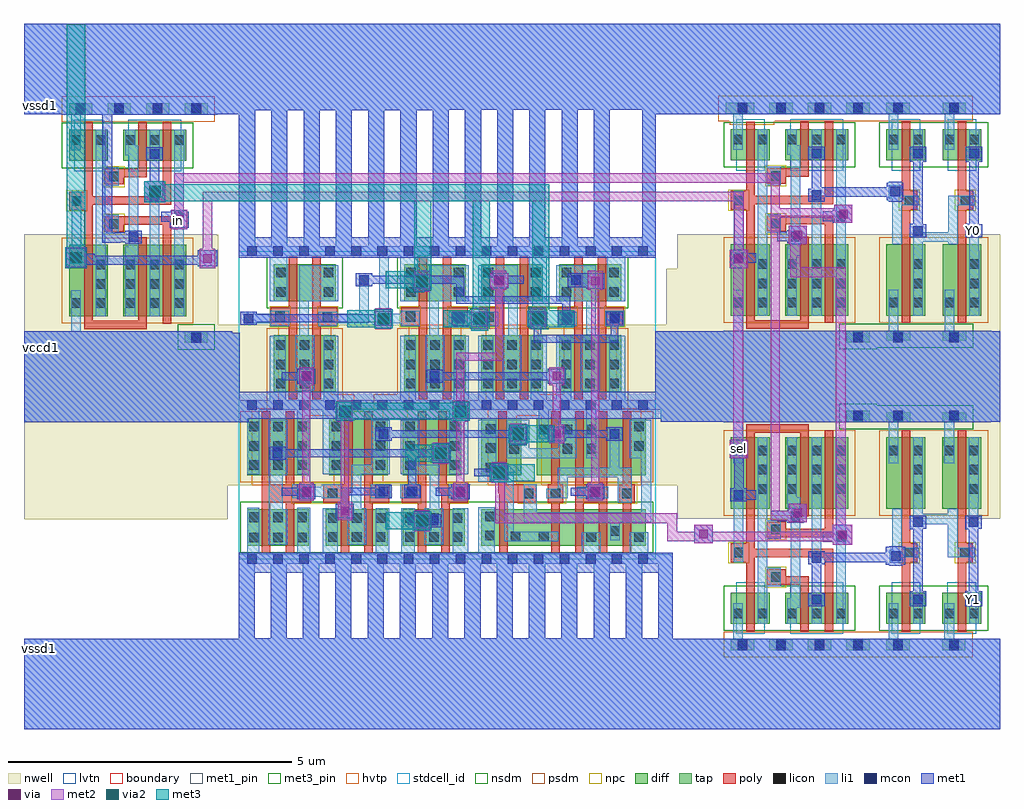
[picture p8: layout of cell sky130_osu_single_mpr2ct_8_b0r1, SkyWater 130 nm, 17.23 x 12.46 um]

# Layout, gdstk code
import gdstk
lib = gdstk.Library(unit=1e-6, precision=1e-09)
def R(c, l, rs):  # rectangles x0, y0, x1, y1
    for r in rs: c.add(gdstk.rectangle(r[:2], r[2:], *l))
def A(c, l, x, y, w, h, nx, ny, dx, dy):  # array of equal rectangles
    R(c, l, [(x+i*dx, y+j*dy, x+i*dx+w, y+j*dy+h) for i in range(nx) for j in range(ny)])
nwell = (64, 20)
diff = (65, 20)
tap = (65, 44)
poly = (66, 20)
licon = (66, 44)
li1 = (67, 20)
mcon = (67, 44)
met1_pin = (68, 16)
met1 = (68, 20)
via = (68, 44)
met2 = (69, 20)
via2 = (69, 44)
met3_pin = (70, 16)
met3 = (70, 20)
hvtp = (78, 44)
stdcell_id = (81, 4)
nsdm = (93, 44)
psdm = (94, 20)
npc = (95, 20)
lvtn = (125, 44)
boundary = (235, 4)

sky130_osu_sc_12t_hs__mu = lib.new_cell('sky130_osu_sc_12T_hs__mux2_1')
R(sky130_osu_sc_12t_hs__mu, nwell, [(-0.05,2.42,2.76,4.51)])
R(sky130_osu_sc_12t_hs__mu, diff, [(0.13,0.57,0.815,1.12), (1.085,0.57,2.2,1.12), (0.13,2.6,0.815,3.86), (1.085,2.6,2.2,3.86)])
A(sky130_osu_sc_12t_hs__mu, tap, 0.13, 0.1, 0.41, 0.2, 4, 1, 0.68, 0)
R(sky130_osu_sc_12t_hs__mu, tap, [(2.17,4.13,2.58,4.33)])
R(sky130_osu_sc_12t_hs__mu, poly, [(0.4,0.44,0.55,1.66), (1.355,0.44,1.505,1.26), (1.785,0.44,1.935,1.74), (0.76,1.26,1.505,1.41), (0.76,1.41,1.095,1.53), (0.13,1.66,0.55,1.74), (0.13,1.74,1.935,1.89), (0.13,1.89,0.55,1.99), (0.4,1.99,0.55,3.94), (0.76,2.1,1.935,2.25), (0.76,2.25,1.095,2.37), (1.785,2.25,1.935,3.99), (1.355,2.47,1.505,3.94), (0.4,3.94,1.505,4.09)])
A(sky130_osu_sc_12t_hs__mu, licon, 0.25, 0.13, 0.17, 0.17, 4, 1, 0.68, 0)
A(sky130_osu_sc_12t_hs__mu, licon, 0.605, 2.865, 0.17, 0.17, 1, 3, 0, 0.34)
A(sky130_osu_sc_12t_hs__mu, licon, 1.125, 2.865, 0.17, 0.17, 1, 3, 0, 0.34)
A(sky130_osu_sc_12t_hs__mu, licon, 1.56, 2.865, 0.17, 0.17, 1, 3, 0, 0.34)
A(sky130_osu_sc_12t_hs__mu, licon, 1.99, 2.865, 0.17, 0.17, 1, 3, 0, 0.34)
R(sky130_osu_sc_12t_hs__mu, licon, [(0.17,0.665,0.34,0.835), (0.605,0.665,0.775,0.835), (1.125,0.665,1.295,0.835), (1.56,0.665,1.73,0.835), (1.99,0.665,2.16,0.835), (0.84,1.31,1.01,1.48), (0.18,1.74,0.35,1.91), (0.84,2.15,1.01,2.32), (0.17,3.545,0.34,3.715), (2.29,4.13,2.46,4.3)])
R(sky130_osu_sc_12t_hs__mu, li1, [(0,0,2.75,0.3), (0.17,0.3,0.34,0.93), (0.6,0.57,0.775,1.06), (1.125,0.57,1.295,0.85), (1.555,0.57,1.73,1.08), (1.985,0.57,2.16,1.12), (1.125,0.85,1.355,1.02), (1.185,1.02,1.355,2.63), (0.6,1.06,0.77,1.23), (1.985,1.12,2.155,2.72), (0.6,1.23,1.01,1.56), (0.6,1.56,0.77,2.07), (1.555,1.65,1.725,2.6), (0.18,1.66,0.35,2.93), (0.6,2.07,1.01,2.4), (0.6,2.4,0.77,2.6), (0.6,2.6,0.775,3.86), (1.555,2.6,1.73,3.86), (1.125,2.63,1.355,2.8), (1.985,2.72,2.16,3.86), (1.125,2.8,1.295,3.86), (0.17,3.4,0.34,4.13), (0,4.13,2.75,4.44)])
A(sky130_osu_sc_12t_hs__mu, mcon, 0.25, 0.1, 0.17, 0.17, 4, 1, 0.68, 0)
R(sky130_osu_sc_12t_hs__mu, mcon, [(1.555,0.91,1.725,1.08), (1.555,1.65,1.725,1.82), (1.985,2.02,2.155,2.19), (1.185,2.38,1.355,2.55), (0.18,2.76,0.35,2.93), (2.29,4.16,2.46,4.33)])
R(sky130_osu_sc_12t_hs__mu, met1, [(0,0,2.75,0.3), (1.495,0.88,1.785,1.11), (1.555,1.11,1.725,1.62), (1.495,1.62,1.785,1.85), (1.925,1.99,2.215,2.02), (1.755,2.02,2.215,2.19), (1.925,2.19,2.215,2.22), (1.125,2.35,1.415,2.38), (0.95,2.38,1.415,2.55), (1.125,2.55,1.415,2.58), (0.12,2.73,0.41,2.76), (0.12,2.76,0.58,2.93), (0.12,2.93,0.41,2.96), (0,4.13,2.75,4.44)])
R(sky130_osu_sc_12t_hs__mu, nsdm, [(0.005,0.445,2.325,1.245), (2.045,4.005,2.705,4.455)])
R(sky130_osu_sc_12t_hs__mu, psdm, [(0.005,-0.025,2.705,0.425), (0.005,2.475,2.325,3.985)])
R(sky130_osu_sc_12t_hs__mu, npc, [(0.74,1.21,1.11,1.58), (0.08,1.64,0.45,2.01), (0.74,2.05,1.11,2.42)])
R(sky130_osu_sc_12t_hs__mu, lvtn, [(0.22,0.39,0.73,1.3), (1.175,0.39,2.115,1.3)])
sky130_osu_sc_12t_hs__mu.add(gdstk.Label('S0', (0.27,2.85), layer=68, texttype=5))
sky130_osu_sc_12t_hs__mu.add(gdstk.Label('Y', (1.645,1.74), layer=68, texttype=5))
sky130_osu_sc_12t_hs__mu.add(gdstk.Label('A0', (1.265,2.47), layer=68, texttype=5))
sky130_osu_sc_12t_hs__mu.add(gdstk.Label('A1', (2.075,2.11), layer=68, texttype=5))
sky130_osu_sc_12t_hs__mu.add(gdstk.Label('vccd1', (2.38,4.2), layer=68, texttype=5))
sky130_osu_sc_12t_hs__mu.add(gdstk.Label('vssd1 ', (0.34,0.24), layer=68, texttype=5))

sky130_osu_sc_12t_hs__in = lib.new_cell('sky130_osu_sc_12T_hs__inv_1')
R(sky130_osu_sc_12t_hs__in, nwell, [(-0.05,2.42,0.995,4.51)])
R(sky130_osu_sc_12t_hs__in, diff, [(0.13,0.57,0.815,1.12), (0.13,2.6,0.815,3.86)])
R(sky130_osu_sc_12t_hs__in, tap, [(0.13,0.1,0.54,0.3), (0.13,4.13,0.55,4.3)])
R(sky130_osu_sc_12t_hs__in, poly, [(0.4,0.44,0.55,1.66), (0.4,1.66,0.67,1.99), (0.4,1.99,0.55,3.99)])
A(sky130_osu_sc_12t_hs__in, licon, 0.605, 2.865, 0.17, 0.17, 1, 3, 0, 0.34)
R(sky130_osu_sc_12t_hs__in, licon, [(0.25,0.13,0.42,0.3), (0.17,0.665,0.34,0.835), (0.605,0.665,0.775,0.835), (0.45,1.74,0.62,1.91), (0.17,3.545,0.34,3.715), (0.25,4.13,0.42,4.3)])
R(sky130_osu_sc_12t_hs__in, li1, [(0,0,0.99,0.3), (0.17,0.3,0.34,0.93), (0.605,0.57,0.775,1.08), (0.23,1.74,0.7,1.91), (0.23,1.91,0.4,2.6), (0.6,2.28,0.77,2.715), (0.6,2.715,0.775,3.86), (0.17,3.4,0.34,4.13), (0,4.13,0.99,4.44)])
R(sky130_osu_sc_12t_hs__in, mcon, [(0.25,0.1,0.42,0.27), (0.605,0.91,0.775,1.08), (0.6,2.28,0.77,2.45), (0.25,4.16,0.42,4.33)])
R(sky130_osu_sc_12t_hs__in, met1, [(0,0,0.99,0.3), (0.54,0.88,0.835,1.14), (0.6,1.14,0.77,2.24), (0.54,2.24,0.77,2.245), (0.54,2.245,0.83,2.48), (0,4.13,0.99,4.44)])
R(sky130_osu_sc_12t_hs__in, nsdm, [(0.005,0.445,0.94,1.245), (0.005,4.005,0.675,4.425)])
R(sky130_osu_sc_12t_hs__in, psdm, [(0.005,-0.025,0.665,0.425), (0.005,2.475,0.94,3.985)])
R(sky130_osu_sc_12t_hs__in, npc, [(0.35,1.64,0.72,2.01)])
R(sky130_osu_sc_12t_hs__in, lvtn, [(0.22,0.39,0.73,1.3)])
sky130_osu_sc_12t_hs__in.add(gdstk.Label('A', (0.32,1.85), layer=67, texttype=5))
sky130_osu_sc_12t_hs__in.add(gdstk.Label('Y', (0.75,1.72), layer=68, texttype=5))
sky130_osu_sc_12t_hs__in.add(gdstk.Label('vccd1', (0.34,4.2), layer=68, texttype=5))
sky130_osu_sc_12t_hs__in.add(gdstk.Label('vssd1', (0.34,0.24), layer=68, texttype=5))

scs130hd_mpr2ct_8 = lib.new_cell('scs130hd_mpr2ct_8')
R(scs130hd_mpr2ct_8, nwell, [(-0.19,1.305,7.55,2.31), (-0.215,2.31,7.55,3.15), (-0.19,3.15,7.55,4.135)])
R(scs130hd_mpr2ct_8, diff, [(0.145,0.235,1.235,0.885), (1.535,0.235,2.625,0.885), (2.895,0.235,3.985,0.885), (4.275,0.235,7.185,0.885), (0.145,1.485,1.235,2.485), (1.595,1.485,2.625,2.485), (2.895,1.485,3.925,2.485), (4.275,1.485,4.985,2.485), (5.255,1.485,7.185,2.485), (0.615,2.955,1.705,3.955), (2.915,2.955,4.005,3.955), (4.275,2.955,5.365,3.955), (5.655,2.955,6.745,3.955), (0.615,4.555,1.705,5.205), (2.915,4.555,4.005,5.205), (4.275,4.555,5.365,5.205), (5.655,4.555,6.745,5.205)])
A(scs130hd_mpr2ct_8, poly, 5.515, 0.105, 0.15, 0.89, 4, 1, 0.42, 0)
A(scs130hd_mpr2ct_8, poly, 5.515, 1.325, 0.15, 1.29, 4, 1, 0.42, 0)
R(scs130hd_mpr2ct_8, poly, [(0.405,0.105,0.555,0.995), (0.825,0.105,0.975,0.995), (1.795,0.105,1.945,0.995), (2.215,0.105,2.365,0.995), (3.155,0.105,3.305,0.995), (3.575,0.105,3.725,0.995), (4.595,0.105,4.745,0.995), (0.405,0.995,1.275,1.325), (1.485,0.995,1.945,1.175), (2.215,0.995,2.65,1.325), (2.87,0.995,3.305,1.325), (3.575,0.995,4.035,1.175), (4.595,0.995,5.245,1.16), (5.455,0.995,5.725,1.325), (5.935,0.995,6.505,1.325), (6.715,0.995,6.985,1.325), (4.575,1.16,5.245,1.325), (1.485,1.175,2.005,1.325), (3.515,1.175,4.035,1.325), (0.405,1.325,0.555,2.615), (0.825,1.325,0.975,2.615), (1.855,1.325,2.005,2.615), (2.215,1.325,2.365,2.615), (3.155,1.325,3.305,2.615), (3.515,1.325,3.665,2.615), (4.575,1.325,4.725,2.615), (0.875,2.825,1.025,4.115), (1.295,2.825,1.445,4.115), (3.175,2.825,3.325,4.115), (3.595,2.825,3.745,4.115), (4.535,2.825,4.685,4.115), (4.955,2.825,5.105,4.115), (5.915,2.825,6.065,4.115), (6.335,2.825,6.485,4.115), (0.565,4.115,1.025,4.445), (1.295,4.115,1.735,4.445), (2.865,4.115,3.325,4.445), (3.595,4.115,4.035,4.445), (4.245,4.115,4.685,4.445), (4.955,4.115,5.415,4.445), (5.625,4.115,6.065,4.445), (6.335,4.115,6.795,4.445), (0.875,4.445,1.025,5.335), (1.295,4.445,1.445,5.335), (3.175,4.445,3.325,5.335), (3.595,4.445,3.745,5.335), (4.535,4.445,4.685,5.335), (4.955,4.445,5.105,5.335), (5.915,4.445,6.065,5.335), (6.335,4.445,6.485,5.335)])
A(scs130hd_mpr2ct_8, licon, 0.185, 0.295, 0.17, 0.17, 3, 2, 0.42, 0.36)
A(scs130hd_mpr2ct_8, licon, 1.575, 0.305, 0.17, 0.17, 3, 2, 0.42, 0.34)
A(scs130hd_mpr2ct_8, licon, 2.935, 0.305, 0.17, 0.17, 3, 2, 0.42, 0.34)
A(scs130hd_mpr2ct_8, licon, 4.355, 1.535, 0.17, 0.17, 1, 3, 0, 0.34)
A(scs130hd_mpr2ct_8, licon, 0.185, 1.575, 0.17, 0.17, 3, 3, 0.42, 0.34)
A(scs130hd_mpr2ct_8, licon, 1.635, 1.575, 0.17, 0.17, 1, 3, 0, 0.34)
A(scs130hd_mpr2ct_8, licon, 2.415, 1.575, 0.17, 0.17, 1, 3, 0, 0.34)
A(scs130hd_mpr2ct_8, licon, 2.935, 1.575, 0.17, 0.17, 1, 3, 0, 0.34)
A(scs130hd_mpr2ct_8, licon, 3.715, 1.575, 0.17, 0.17, 1, 3, 0, 0.34)
A(scs130hd_mpr2ct_8, licon, 5.295, 2.205, 0.17, 0.17, 3, 1, 0.42, 0)
A(scs130hd_mpr2ct_8, licon, 0.655, 3.015, 0.17, 0.17, 3, 3, 0.42, 0.34)
A(scs130hd_mpr2ct_8, licon, 2.955, 3.015, 0.17, 0.17, 3, 3, 0.42, 0.34)
A(scs130hd_mpr2ct_8, licon, 4.315, 3.015, 0.17, 0.17, 3, 3, 0.42, 0.34)
A(scs130hd_mpr2ct_8, licon, 5.695, 3.015, 0.17, 0.17, 3, 3, 0.42, 0.34)
R(scs130hd_mpr2ct_8, licon, [(6.135,0.305,6.305,0.475), (6.975,0.305,7.145,0.475), (4.795,0.315,4.965,0.485), (5.295,0.315,5.465,0.485), (4.345,0.33,4.515,0.5), (6.555,0.415,6.725,0.585), (4.345,0.67,4.515,0.84), (1.025,1.075,1.195,1.245), (1.565,1.075,1.735,1.245), (2.405,1.075,2.575,1.245), (2.945,1.075,3.115,1.245), (3.785,1.075,3.955,1.245), (5.025,1.075,5.195,1.245), (5.505,1.075,5.675,1.245), (6.18,1.075,6.35,1.245), (6.765,1.075,6.935,1.245), (4.775,1.865,4.945,2.035), (5.715,1.865,5.885,2.035), (6.135,1.865,6.305,2.035), (6.975,1.915,7.145,2.085), (4.775,2.205,4.945,2.375), (6.975,2.255,7.145,2.425), (0.64,4.195,0.81,4.365), (1.48,4.195,1.65,4.365), (2.94,4.195,3.11,4.365), (3.78,4.195,3.95,4.365), (4.33,4.195,4.5,4.365), (5.17,4.195,5.34,4.365), (5.71,4.195,5.88,4.365), (6.55,4.195,6.72,4.365), (0.655,4.635,0.825,4.805), (1.495,4.635,1.665,4.805), (2.955,4.635,3.125,4.805), (3.795,4.635,3.965,4.805), (4.315,4.635,4.485,4.805), (5.155,4.635,5.325,4.805), (5.695,4.635,5.865,4.805), (6.535,4.635,6.705,4.805), (0.655,4.975,0.825,5.145), (1.495,4.975,1.665,5.145), (2.955,4.975,3.125,5.145), (3.795,4.975,3.965,5.145), (4.315,4.975,4.485,5.145), (5.155,4.975,5.325,5.145), (5.695,4.975,5.865,5.145), (6.535,4.975,6.705,5.145)])
A(scs130hd_mpr2ct_8, li1, 0, -0.085, 7.36, 0.17, 1, 3, 0, 2.72)
R(scs130hd_mpr2ct_8, li1, [(0.145,0.085,0.355,0.905), (1.025,0.085,1.255,0.905), (1.475,0.085,1.745,0.895), (2.415,0.085,2.655,0.895), (2.865,0.085,3.105,0.895), (3.775,0.085,4.045,0.895), (4.225,0.085,4.515,0.92), (6.055,0.085,6.385,0.475), (6.895,0.085,7.225,0.475), (0.525,0.255,0.855,0.885), (1.915,0.255,2.245,0.895), (3.275,0.255,3.605,0.895), (4.685,0.315,5.64,0.485), (6.555,0.335,6.725,0.655), (4.685,0.485,4.855,1.365), (5.025,0.655,7.275,0.825), (5.025,0.825,5.255,1.325), (7.105,0.825,7.275,1.785), (0.525,0.885,0.775,1.485), (1.985,0.895,2.155,1.495), (3.365,0.895,3.535,1.495), (6.69,0.995,6.935,1.445), (0.945,1.075,1.275,1.105), (1.465,1.075,1.815,1.105), (2.325,1.075,2.675,1.325), (2.845,1.075,3.195,1.325), (3.705,1.075,4.055,1.325), (5.425,1.075,5.8,1.245), (5.97,1.075,6.52,1.275), (0.945,1.105,1.815,1.275), (5.63,1.245,5.8,1.445), (0.945,1.275,1.275,1.325), (1.465,1.275,1.815,1.325), (4.225,1.365,4.855,1.535), (5.63,1.445,6.935,1.615), (0.525,1.485,0.855,2.465), (0.145,1.495,0.355,2.635), (1.025,1.495,1.255,2.635), (1.475,1.495,1.805,2.635), (1.985,1.495,2.665,1.665), (2.855,1.495,3.535,1.665), (3.715,1.495,4.045,2.635), (4.225,1.535,4.675,1.615), (4.225,1.615,4.545,2.465), (6.545,1.615,6.715,2.295), (2.335,1.665,2.665,2.45), (2.855,1.665,3.185,2.45), (4.725,1.785,5.965,1.955), (6.135,1.785,6.305,2.635), (6.895,1.785,7.275,2.465), (4.725,1.955,5.125,2.465), (5.635,1.955,5.965,2.465), (5.295,2.125,5.465,2.635), (0.545,2.805,0.825,3.945), (1.495,2.805,1.755,3.945), (2.845,2.805,3.125,3.945), (3.795,2.805,4.055,3.945), (4.225,2.805,4.485,3.945), (5.155,2.805,5.435,3.945), (5.605,2.805,5.865,3.945), (6.535,2.805,6.815,3.945), (0.995,2.975,1.325,3.955), (3.295,2.975,3.625,3.955), (4.655,2.975,4.985,3.955), (6.035,2.975,6.365,3.955), (1.06,3.955,1.23,4.555), (3.36,3.955,3.53,4.555), (4.75,3.955,4.92,4.555), (6.13,3.955,6.3,4.555), (0.555,4.115,0.89,4.165), (1.4,4.115,1.735,4.165), (2.855,4.115,3.19,4.165), (3.7,4.115,4.035,4.165), (4.245,4.115,4.58,4.165), (5.09,4.115,5.425,4.385), (5.625,4.115,5.96,4.365), (6.47,4.115,6.805,4.385), (0.085,4.165,0.89,4.335), (1.4,4.165,2.295,4.335), (2.465,4.165,3.19,4.335), (3.7,4.165,4.58,4.335), (0.555,4.335,0.89,4.385), (1.4,4.335,1.735,4.365), (2.125,4.335,2.295,5.015), (2.855,4.335,3.19,4.385), (3.7,4.335,4.035,4.365), (4.245,4.335,4.58,4.365), (0.545,4.555,0.855,5.355), (1.06,4.555,1.755,5.185), (2.845,4.555,3.155,5.355), (3.36,4.555,4.055,5.185), (4.225,4.555,4.92,5.185), (5.125,4.555,5.435,5.355), (5.605,4.555,6.3,5.185), (6.505,4.555,6.815,5.355)])
A(scs130hd_mpr2ct_8, mcon, 0.145, -0.085, 0.17, 0.17, 16, 3, 0.46, 2.72)
R(scs130hd_mpr2ct_8, mcon, [(3.345,0.595,3.515,0.765), (1.105,1.105,1.275,1.275), (3.825,1.105,3.995,1.275), (6.205,1.105,6.375,1.275), (2.465,1.11,2.635,1.28), (2.975,1.11,3.145,1.28), (4.505,1.445,4.675,1.615), (0.595,1.785,0.765,1.955), (2.465,2.125,2.635,2.295), (6.545,2.125,6.715,2.295), (1.105,3.145,1.275,3.315), (3.365,3.145,3.535,3.315), (0.085,4.165,0.255,4.335), (2.465,4.165,2.635,4.335), (3.815,4.165,3.985,4.335), (5.185,4.165,5.355,4.335), (5.695,4.165,5.865,4.335), (6.545,4.165,6.715,4.335), (2.125,4.845,2.295,5.015), (4.505,4.845,4.675,5.015), (5.865,4.845,6.035,5.015)])
R(scs130hd_mpr2ct_8, met1, [(0,-0.24,7.36,0.115), (3.07,0.55,3.39,0.565), (3.07,0.565,3.575,0.61), (2.98,0.61,3.575,0.75), (1.71,0.72,2.03,0.98), (3.07,0.75,3.575,0.795), (3.07,0.795,3.39,0.81), (1.8,0.98,1.94,1.125), (1.03,1.06,1.35,1.12), (3.75,1.06,4.07,1.12), (6.13,1.06,6.45,1.12), (2.405,1.08,2.695,1.125), (2.915,1.08,3.205,1.31), (0.755,1.12,1.35,1.26), (3.475,1.12,4.07,1.26), (5.855,1.12,6.45,1.26), (1.8,1.125,2.695,1.265), (1.03,1.26,1.35,1.32), (3.75,1.26,4.07,1.32), (6.13,1.26,6.45,1.32), (2.405,1.265,2.695,1.31), (2.99,1.31,3.13,1.8), (4.43,1.4,4.75,1.46), (4.155,1.46,4.75,1.6), (4.43,1.6,4.75,1.66), (3.41,1.74,3.73,1.8), (0.535,1.755,0.825,1.8), (0.535,1.8,3.73,1.94), (0.535,1.94,0.825,1.985), (3.41,1.94,3.73,2), (4.77,2.08,5.09,2.14), (5.45,2.08,5.77,2.14), (2.405,2.095,2.695,2.14), (6.485,2.095,6.775,2.14), (2.405,2.14,5.09,2.28), (5.45,2.14,6.775,2.28), (2.405,2.28,2.695,2.325), (4.77,2.28,5.09,2.34), (5.45,2.28,5.77,2.34), (6.485,2.28,6.775,2.325), (0,2.48,7.36,2.96), (1.03,3.1,1.35,3.16), (5.45,3.1,5.77,3.16), (3.305,3.115,3.595,3.16), (0.755,3.16,1.35,3.3), (3.305,3.16,5.77,3.3), (1.03,3.3,1.35,3.36), (3.305,3.3,3.595,3.345), (5.45,3.3,5.77,3.36), (5.2,3.825,6.7,3.965), (5.2,3.965,5.34,4.105), (6.56,3.965,6.7,4.135), (4.08,4.105,4.4,4.12), (5.11,4.105,5.43,4.365), (2.39,4.12,2.71,4.18), (3.755,4.12,4.4,4.365), (0.025,4.135,0.315,4.18), (5.635,4.135,5.925,4.365), (6.485,4.135,6.775,4.365), (0.025,4.18,2.71,4.32), (0.025,4.32,0.315,4.365), (2.39,4.32,2.71,4.38), (5.71,4.365,5.85,4.505), (3.84,4.505,5.85,4.645), (3.84,4.645,3.98,4.86), (3.07,4.77,3.39,4.83), (6.13,4.77,6.45,4.8), (4.43,4.785,4.75,4.86), (5.805,4.8,6.45,5.045), (2.065,4.815,2.355,4.86), (3.065,4.83,3.395,4.86), (2.065,4.86,3.98,5), (4.43,4.86,5.025,5), (2.065,5,2.355,5.045), (3.07,5,3.39,5.03), (4.43,5,4.75,5.045), (0,5.325,7.36,5.68)])
R(scs130hd_mpr2ct_8, via, [(3.155,0.605,3.305,0.755), (1.795,0.775,1.945,0.925), (1.115,1.115,1.265,1.265), (3.835,1.115,3.985,1.265), (6.215,1.115,6.365,1.265), (4.515,1.455,4.665,1.605), (3.495,1.795,3.645,1.945), (4.855,2.135,5.005,2.285), (5.535,2.135,5.685,2.285), (1.115,3.155,1.265,3.305), (5.535,3.155,5.685,3.305), (4.165,4.16,4.315,4.31), (5.195,4.16,5.345,4.31), (2.475,4.175,2.625,4.325), (3.155,4.825,3.305,4.975), (4.515,4.84,4.665,4.99), (6.215,4.84,6.365,4.99)])
R(scs130hd_mpr2ct_8, met2, [(3.09,0.495,3.37,0.865), (1.74,0.69,2,1.01), (1.8,1.01,1.94,2.425), (1.06,1.03,1.32,1.35), (3.78,1.03,4.04,1.35), (6.16,1.03,6.42,1.35), (4.45,1.345,4.73,1.715), (1.12,1.35,1.26,3.07), (3.84,1.35,3.98,2.425), (6.22,1.35,6.36,4.755), (3.42,1.685,3.7,2.055), (4.79,2.025,5.07,2.395), (5.48,2.05,5.74,2.37), (5.54,2.37,5.68,3.07), (1.73,2.425,2.01,2.795), (3.77,2.425,4.05,2.795), (3.84,2.795,3.98,3.5), (1.06,3.07,1.32,3.39), (5.48,3.07,5.74,3.39), (3.84,3.5,4.66,3.64), (4.52,3.64,4.66,4.755), (2.41,4.06,2.69,4.43), (4.1,4.06,4.38,4.43), (5.14,4.06,5.42,4.43), (3.09,4.72,3.37,5.09), (4.46,4.755,4.72,4.8), (6.16,4.755,6.42,5.09), (4.43,4.8,4.75,5.045), (4.46,5.045,4.72,5.09)])
R(scs130hd_mpr2ct_8, via2, [(3.13,0.58,3.33,0.78), (4.49,1.43,4.69,1.63), (3.46,1.77,3.66,1.97), (4.83,2.11,5.03,2.31), (1.77,2.51,1.97,2.71), (3.81,2.51,4.01,2.71), (2.45,4.145,2.65,4.345), (4.14,4.145,4.34,4.345), (5.18,4.145,5.38,4.345), (3.13,4.805,3.33,5.005)])
R(scs130hd_mpr2ct_8, met3_pin, [(3.065,0.515,3.395,0.845), (4.425,1.365,4.755,1.695), (3.395,1.705,3.725,2.035), (4.765,2.045,5.095,2.375), (2.385,4.08,2.715,4.41), (4.075,4.08,4.405,4.41), (5.115,4.08,5.445,4.41), (3.065,4.74,3.395,5.07)])
R(scs130hd_mpr2ct_8, met3, [(3.065,0.515,3.395,0.525), (3.055,0.525,3.395,0.53), (2.595,0.53,3.395,0.83), (3.065,0.83,3.395,0.845), (4.51,1.355,4.81,1.365), (4.425,1.365,4.81,1.38), (4.425,1.38,5.225,1.68), (4.425,1.68,4.755,1.695), (3.395,1.705,3.725,1.72), (2.935,1.72,3.735,2.02), (4.78,2.015,5.08,2.045), (3.395,2.02,3.725,2.035), (4.765,2.045,5.095,2.06), (4.765,2.06,5.565,2.36), (4.765,2.36,5.095,2.375), (1.705,2.445,2.035,2.46), (3.745,2.445,4.075,2.46), (1.705,2.46,4.075,2.76), (1.705,2.76,2.035,2.775), (3.745,2.76,4.075,2.775), (4.1,4.035,4.4,4.08), (5.17,4.055,5.47,4.08), (2.385,4.08,2.715,4.095), (4.075,4.08,4.405,4.095), (5.115,4.08,5.47,4.095), (1.915,4.095,2.715,4.395), (3.605,4.095,4.405,4.395), (5.115,4.095,5.915,4.395), (2.385,4.395,2.715,4.41), (4.075,4.395,4.405,4.41), (5.115,4.395,5.445,4.41), (2.975,4.715,3.275,4.74), (2.975,4.74,3.395,4.785), (2.595,4.785,3.395,5.085)])
R(scs130hd_mpr2ct_8, hvtp, [(0.225,1.305,1.155,2.53), (1.675,1.305,2.545,2.53), (2.975,1.305,3.845,2.665), (4.395,1.305,4.905,2.53), (5.335,1.305,7.105,2.53), (0.225,2.53,2.545,2.665), (4.395,2.53,7.105,2.665), (0.695,2.665,2.035,2.91), (2.995,2.665,3.845,2.775), (4.395,2.665,6.665,2.775), (2.995,2.775,3.925,4.135), (4.355,2.775,6.665,2.91), (0.695,2.91,1.625,4.135), (4.355,2.91,5.285,4.135), (5.735,2.91,6.665,4.135)])
R(scs130hd_mpr2ct_8, stdcell_id, [(0,0,7.36,5.44)])
R(scs130hd_mpr2ct_8, nsdm, [(0.02,0.11,7.31,1.01), (0.49,4.43,1.83,5.33), (2.79,4.43,6.87,5.33)])
R(scs130hd_mpr2ct_8, psdm, [(0.02,1.36,7.31,2.61), (0.49,2.61,1.84,2.92), (2.375,2.61,6.87,2.91), (2.79,2.91,6.87,4.08), (0.49,2.92,1.83,4.08)])
R(scs130hd_mpr2ct_8, npc, [(0.925,0.975,1.835,1.345), (2.305,0.975,3.215,1.345), (3.685,0.975,4.055,1.345), (4.925,0.975,5.775,1.345), (6.08,0.975,7.035,1.345), (0.54,4.095,0.91,4.465), (1.38,4.095,1.75,4.465), (2.84,4.095,3.21,4.465), (3.68,4.095,4.6,4.465), (5.07,4.095,5.98,4.465), (6.45,4.095,6.82,4.465)])
R(scs130hd_mpr2ct_8, boundary, [(0,0,7.36,5.44)])
scs130hd_mpr2ct_8.add(gdstk.Label('VPB', (0.46,2.71), layer=64, texttype=5))
scs130hd_mpr2ct_8.add(gdstk.Label('VNB', (0.23,5.435), layer=64, texttype=59))
scs130hd_mpr2ct_8.add(gdstk.Label('VNB', (0.41,-0.005), layer=64, texttype=59))
scs130hd_mpr2ct_8.add(gdstk.Label('vgnd', (0.69,5.445), layer=68, texttype=5))
scs130hd_mpr2ct_8.add(gdstk.Label('vgnd', (0.68,0), layer=68, texttype=5))
scs130hd_mpr2ct_8.add(gdstk.Label('vpwr', (0.695,2.725), layer=68, texttype=5))
scs130hd_mpr2ct_8.add(gdstk.Label('A1', (4.24,4.245), layer=70, texttype=5))
scs130hd_mpr2ct_8.add(gdstk.Label('A0', (3.23,4.905), layer=70, texttype=5))
scs130hd_mpr2ct_8.add(gdstk.Label('B0', (2.55,4.245), layer=70, texttype=5))
scs130hd_mpr2ct_8.add(gdstk.Label('B1', (5.28,4.245), layer=70, texttype=5))
scs130hd_mpr2ct_8.add(gdstk.Label('R0', (3.56,1.87), layer=70, texttype=5))
scs130hd_mpr2ct_8.add(gdstk.Label('R1', (4.59,1.53), layer=70, texttype=5))
scs130hd_mpr2ct_8.add(gdstk.Label('R2', (3.23,0.68), layer=70, texttype=5))
scs130hd_mpr2ct_8.add(gdstk.Label('R3', (4.93,2.21), layer=70, texttype=5))

sky130_osu_single_mpr2ct = lib.new_cell('sky130_osu_single_mpr2ct_8_b0r1')
R(sky130_osu_single_mpr2ct, nwell, [(-10.795,2.415,-7.2,3.015), (0.74,2.425,1.555,3.015), (6.21,2.425,6.435,4.135), (5.465,2.565,5.615,2.74), (-10.795,3.015,-6.625,4.12), (0.445,3.015,1.555,3.815), (-1.365,3.815,1.555,3.98), (0.445,3.98,1.555,4.135), (-10.795,4.12,-7.115,4.13), (-10.795,4.13,-6.825,4.365), (0.445,4.135,6.435,4.19), (0.36,4.19,6.435,4.345), (0.35,4.345,6.435,5.735), (-10.795,4.365,-6.985,5.695), (-10.795,5.695,-7.4,5.73), (-7.38,5.695,-7.155,5.73), (-10.795,5.73,-7.155,5.735), (-10.795,5.735,-7.4,7.445), (-7.38,5.735,-7.155,5.85), (0.545,5.735,1.555,6.835), (6.21,5.735,6.435,7.445), (0.74,6.835,1.555,6.93), (0.74,6.93,1.53,7.445), (1.74,6.93,1.9,7.11), (5.07,7.135,5.075,7.325)])
R(sky130_osu_single_mpr2ct, diff, [(5.885,0.91,6.06,1.08)])
R(sky130_osu_single_mpr2ct, tap, [(1.59,9.57,1.745,9.585), (2.365,9.57,2.775,9.575), (2.37,9.575,2.745,9.735), (1.59,9.585,1.74,9.735), (1.59,9.735,1.71,9.77)])
A(sky130_osu_single_mpr2ct, li1, -5.87, 0.31, 0.285, 1.335, 11, 1, 0.57, 0)
A(sky130_osu_single_mpr2ct, li1, -6.43, 7.23, 0.285, 2.405, 6, 1, 0.57, 0)
A(sky130_osu_single_mpr2ct, li1, -1.875, 7.23, 0.285, 2.41, 3, 1, 0.57, 0)
R(sky130_osu_single_mpr2ct, li1, [(-10.79,-1.295,6.435,0.305), (-7.005,0.305,0.655,0.31), (-7.005,0.31,-6.725,1.635), (-6.44,0.31,-6.155,1.635), (0.4,0.31,0.655,1.625), (5.89,0.91,6.06,1.08), (0.23,1.625,0.655,1.645), (-7.005,1.635,-6.96,1.795), (-6.13,1.645,0.655,1.655), (4.485,1.65,4.715,1.88), (0.35,1.655,0.655,1.795), (5.065,2.33,5.585,2.51), (5.89,3.69,6.06,3.86), (-10.79,4.13,-6.825,4.365), (0.445,4.135,6.435,4.345), (0.35,4.345,6.435,5.735), (-10.79,4.365,-6.985,5.705), (-10.79,5.705,-7.115,5.735), (5.895,6.01,6.065,6.18), (-4.525,6.03,-4.355,7.105), (1.73,6.93,1.91,7.17), (5.07,7.135,5.075,7.31), (-7,7.23,-6.715,9.565), (-3.01,7.23,-2.725,9.64), (-2.44,7.23,-2.16,9.64), (0.12,7.23,0.36,9.565), (5.06,7.31,5.595,7.485), (5.89,7.42,6.06,7.59), (4.47,8.085,4.7,8.315), (-10.79,9.565,-6.715,9.635), (0.12,9.565,6.435,9.64), (-10.79,9.635,-3.295,9.64), (-10.79,9.64,6.435,11.165)])
R(sky130_osu_single_mpr2ct, mcon, [(5.89,0.91,6.06,1.08), (4.515,1.68,4.685,1.85), (5.89,7.42,6.06,7.59), (4.5,8.115,4.67,8.285)])
R(sky130_osu_single_mpr2ct, met1_pin, [(5.89,0.91,6.06,1.08), (5.89,7.42,6.06,7.59)])
A(sky130_osu_single_mpr2ct, met1, -5.87, 0.31, 0.285, 1.335, 11, 1, 0.57, 0)
A(sky130_osu_single_mpr2ct, met1, -6.43, 7.23, 0.285, 2.405, 6, 1, 0.57, 0)
A(sky130_osu_single_mpr2ct, met1, -1.875, 7.23, 0.285, 2.41, 3, 1, 0.57, 0)
R(sky130_osu_single_mpr2ct, met1, [(-10.79,-1.295,6.435,0.305), (-7.005,0.305,0.655,0.31), (-7.005,0.31,-6.725,1.635), (-6.44,0.31,-6.155,1.635), (0.4,0.31,0.655,1.47), (5.89,0.91,6.06,1.08), (0.355,1.47,0.655,1.625), (4.48,1.59,4.715,1.615), (4.42,1.615,4.76,1.655), (0.23,1.625,0.655,1.645), (-7.005,1.635,-6.955,1.825), (-6.13,1.645,0.655,1.655), (0.35,1.655,0.655,1.795), (3.11,1.655,4.76,1.82), (0.36,1.795,0.655,1.825), (3.11,1.82,3.28,1.825), (3.34,1.82,4.76,1.825), (4.42,1.825,4.76,1.93), (4.48,1.93,4.715,1.94), (3.48,1.965,3.83,2.315), (1.035,1.995,1.36,2.32), (2.705,2.365,3.025,2.395), (2.39,2.395,3.025,2.565), (2.705,2.565,3.025,2.685), (1.74,2.93,1.91,3.495), (1.66,3.495,1.985,3.82), (-10.79,4.13,-6.825,4.365), (0.445,4.135,6.435,4.19), (0.36,4.19,6.435,4.345), (0.35,4.345,6.435,5.735), (-10.79,4.365,-6.985,5.64), (-10.79,5.64,-8.23,5.73), (-7.925,5.64,-6.985,5.705), (-7.925,5.705,-7.115,5.73), (-10.79,5.73,-7.115,5.735), (1.66,6.845,1.985,7.17), (-10.045,6.86,-9.705,6.935), (-7.725,6.88,-7.385,6.905), (-9.69,6.905,-7.385,6.935), (-10.045,6.935,-7.385,7.07), (-10.045,7.07,-9.69,7.105), (-7.725,7.07,-7.385,7.16), (-10.045,7.105,-9.705,7.2), (-7,7.23,-6.715,9.565), (-3.01,7.23,-2.725,9.64), (-2.44,7.23,-2.16,9.64), (0.12,7.23,0.36,9.565), (2.705,7.27,3.025,7.595), (-9.41,7.3,-9.095,7.305), (-9.41,7.305,-9,7.315), (-9.41,7.315,-9.01,7.47), (5.89,7.42,6.06,7.59), (-9.41,7.47,-9.005,7.475), (-9.41,7.475,-9.24,9.565), (-8.225,7.565,-7.885,7.845), (3.505,7.645,3.83,7.97), (-8.67,8.015,-8.3,8.385), (4.47,8.02,4.7,8.045), (3.11,8.045,3.34,8.11), (4.44,8.045,4.73,8.11), (3.11,8.11,4.73,8.215), (3.34,8.215,4.73,8.245), (3.28,8.245,4.73,8.28), (4.44,8.28,4.73,8.355), (4.47,8.355,4.7,8.375), (-10.79,9.565,-6.715,9.635), (0.12,9.565,6.435,9.64), (-10.79,9.635,-3.295,9.64), (-10.79,9.64,6.435,11.165)])
R(sky130_osu_single_mpr2ct, via, [(3.58,2.065,3.73,2.215), (1.125,2.08,1.275,2.23), (2.79,2.45,2.94,2.6), (1.75,3.58,1.9,3.73), (1.75,6.93,1.9,7.08), (-7.63,6.945,-7.48,7.095), (-9.95,6.955,-9.8,7.105), (2.79,7.36,2.94,7.51), (-8.13,7.63,-7.98,7.78), (3.595,7.73,3.745,7.88), (-8.56,8.125,-8.41,8.275)])
R(sky130_osu_single_mpr2ct, met2, [(3.48,1.965,3.83,2.025), (1.035,1.995,1.36,2.025), (0.565,2.025,3.83,2.195), (0.565,2.195,0.74,2.345), (1.035,2.195,1.36,2.32), (3.48,2.195,3.83,2.315), (3.535,2.315,3.71,6.685), (-2.48,2.345,0.74,2.52), (2.705,2.365,3.025,2.395), (2.39,2.395,3.025,2.565), (-2.48,2.52,-2.305,3.18), (2.39,2.565,2.55,7.735), (2.705,2.565,3.025,2.685), (1.66,3.495,1.985,3.82), (1.73,3.82,1.9,6.845), (2.735,6.685,3.71,6.86), (-10.065,6.845,-9.69,7.215), (1.66,6.845,1.985,7.17), (-7.695,6.85,-7.415,7.19), (2.735,6.86,2.91,7.035), (2.735,7.035,2.905,7.27), (1.74,7.17,1.91,8.025), (-7.64,7.19,-7.47,8.025), (2.705,7.27,3.025,7.595), (-8.195,7.535,-7.915,7.875), (3.505,7.645,3.83,7.735), (2.39,7.735,3.83,7.905), (-8.145,7.875,-7.975,8.355), (2.39,7.905,2.55,8.355), (3.505,7.905,3.83,7.97), (-8.67,8.015,-8.3,8.385), (-7.64,8.025,1.91,8.195), (-8.145,8.355,2.55,8.525)])
R(sky130_osu_single_mpr2ct, via2, [(-9.975,6.93,-9.775,7.13), (-8.585,8.1,-8.385,8.3)])
R(sky130_osu_single_mpr2ct, met3, [(-2.915,5.785,-2.575,6.135), (-1.895,5.805,-1.52,6.17), (-2.875,6.135,-2.575,8.025), (-1.82,6.17,-1.52,8.025), (-3.905,6.49,-3.605,8.025), (-10.065,6.845,-9.69,7.215), (-10.04,7.215,-9.71,11.15), (-8.67,8.015,-8.3,8.025), (-8.67,8.025,-1.52,8.325), (-8.67,8.325,-8.3,8.385)])
R(sky130_osu_single_mpr2ct, nsdm, [(5.24,0.445,5.29,1.245), (5.76,0.785,6.185,1.205), (4.26,4.005,4.305,4.425), (4.975,4.005,5.29,4.425), (4.26,5.445,4.305,5.865), (4.975,5.445,5.295,5.865), (5.24,8.625,5.295,9.425)])
R(sky130_osu_single_mpr2ct, psdm, [(4.26,-0.025,4.305,0.425), (4.965,-0.025,5.29,0.425), (5.24,2.475,5.29,3.985), (5.24,5.885,5.295,7.395), (1.66,9.38,2.45,9.445), (1.465,9.445,2.9,9.7), (4.26,9.445,4.305,9.895), (4.965,9.445,5.295,9.895), (1.465,9.7,2.87,9.77), (1.465,9.77,1.865,9.86), (2.245,9.77,2.87,9.86), (1.465,9.86,1.835,9.895)])
sky130_osu_single_mpr2ct.add(gdstk.Reference(sky130_osu_sc_12t_hs__mu, (1.555,9.87), x_reflection=True))
sky130_osu_single_mpr2ct.add(gdstk.Reference(sky130_osu_sc_12t_hs__mu, (-10.13,9.86), x_reflection=True))
sky130_osu_single_mpr2ct.add(gdstk.Reference(sky130_osu_sc_12t_hs__mu, (1.555,0)))
sky130_osu_single_mpr2ct.add(gdstk.Reference(sky130_osu_sc_12t_hs__in, (4.3,9.87), x_reflection=True))
sky130_osu_single_mpr2ct.add(gdstk.Reference(sky130_osu_sc_12t_hs__in, (5.29,9.87), x_reflection=True))
sky130_osu_single_mpr2ct.add(gdstk.Reference(sky130_osu_sc_12t_hs__in, (4.3,0)))
sky130_osu_single_mpr2ct.add(gdstk.Reference(sky130_osu_sc_12t_hs__in, (5.285,0)))
sky130_osu_single_mpr2ct.add(gdstk.Reference(scs130hd_mpr2ct_8, (-7,1.71)))
sky130_osu_single_mpr2ct.add(gdstk.Label('vssd1', (-10.5,9.72), layer=68, texttype=5))
sky130_osu_single_mpr2ct.add(gdstk.Label('vssd1', (-10.53,0.13), layer=68, texttype=5))
sky130_osu_single_mpr2ct.add(gdstk.Label('vccd1', (-10.485,5.44), layer=68, texttype=5))
sky130_osu_single_mpr2ct.add(gdstk.Label('Y0', (5.975,7.505), layer=68, texttype=5))
sky130_osu_single_mpr2ct.add(gdstk.Label('Y1', (5.975,0.995), layer=68, texttype=5))
sky130_osu_single_mpr2ct.add(gdstk.Label('sel', (1.82,3.665), layer=69, texttype=5))
sky130_osu_single_mpr2ct.add(gdstk.Label('in', (-8.06,7.685), layer=69, texttype=5))

lib.write_gds('sky130_osu_single_mpr2ct_8_b0r1.gds')
